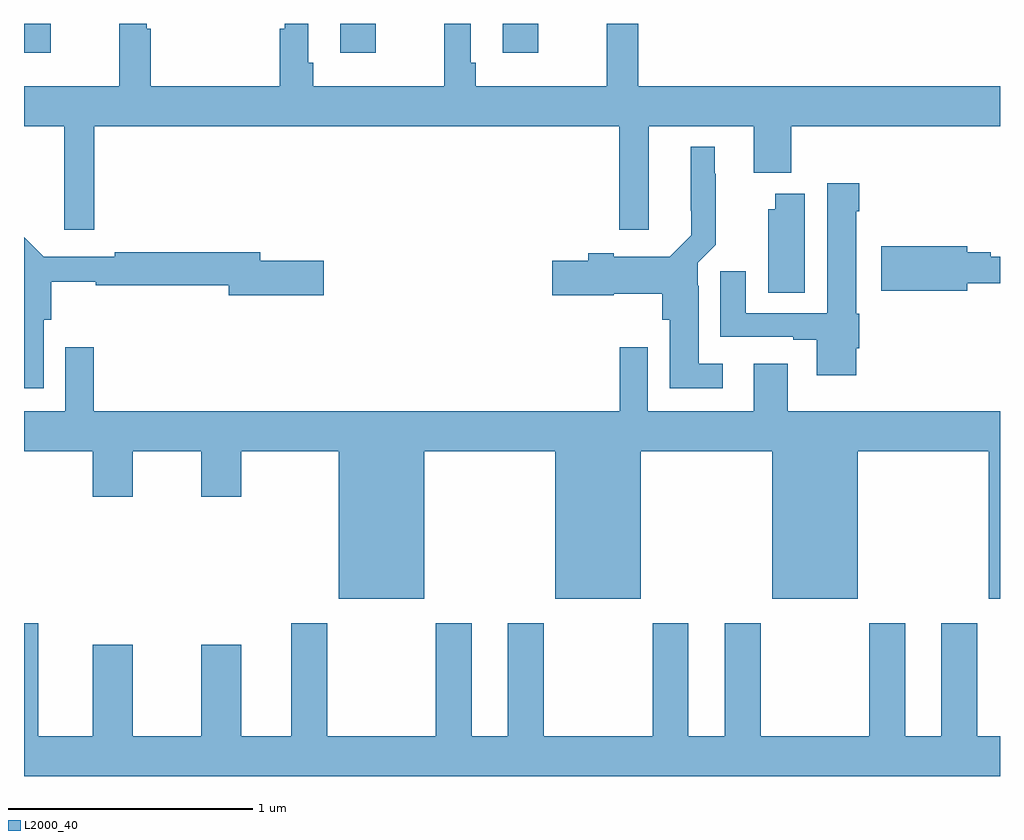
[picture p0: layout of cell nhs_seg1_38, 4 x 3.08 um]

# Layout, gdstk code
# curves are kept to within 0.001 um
import gdstk
lib = gdstk.Library(unit=1e-6, precision=1e-09)
def R(c, l, rs):  # rectangles x0, y0, x1, y1
    for r in rs: c.add(gdstk.rectangle(r[:2], r[2:], *l))
def P(c, l, *ps):  # polygons
    for p in ps: c.add(gdstk.Polygon(p, *l))
L2000_40 = (2000, 40)

nhs_seg1_38 = lib.new_cell('nhs_seg1_38')
R(nhs_seg1_38, L2000_40, [(113,504.081,113.11,504.199), (114.296,504.081,114.442,504.199), (114.962,504.081,115.108,504.199)])
P(nhs_seg1_38, L2000_40, [(113.288,503.78),(115.439,503.78),(115.439,503.355),(115.561,503.355),(115.561,503.78),(115.991,503.78),(115.991,503.588),(116.144,503.588),(116.144,503.78),(117,503.78),(117,503.944),(115.517,503.944),(115.517,504.199),(115.389,504.199),(115.389,503.944),(114.851,503.944),(114.851,504.04),(114.831,504.04),(114.831,504.199),(114.723,504.199),(114.723,503.944),(114.185,503.944),(114.185,504.04),(114.165,504.04),(114.165,504.199),(114.068,504.199),(114.068,504.18),(114.049,504.18),(114.049,503.944),(113.519,503.944),(113.519,504.18),(113.504,504.18),(113.504,504.199),(113.391,504.199),(113.391,503.944),(113,503.944),(113,503.78),(113.165,503.78),(113.165,503.355),(113.288,503.355)],
  [(115.864,502.807),(115.765,502.807),(115.765,503.126),(115.761,503.126),(115.761,503.22),(115.835,503.294),(115.835,503.585),(115.831,503.585),(115.831,503.695),(115.733,503.695),(115.734,503.332),(115.647,503.245),(115.417,503.245),(115.417,503.258),(115.313,503.258),(115.313,503.228),(115.164,503.228),(115.164,503.086),(115.417,503.086),(115.417,503.093),(115.616,503.093),(115.616,502.986),(115.646,502.986),(115.646,502.706),(115.864,502.706)],
  [(116.41,502.87),(116.423,502.87),(116.423,503.01),(116.41,503.01),(116.41,503.432),(116.423,503.432),(116.423,503.545),(116.291,503.545),(116.291,503.013),(115.957,503.013),(115.957,503.185),(115.853,503.185),(115.853,502.917),(116.153,502.917),(116.153,502.905),(116.249,502.905),(116.249,502.758),(116.41,502.758)],
  [(116.2,503.503),(116.078,503.503),(116.078,503.439),(116.051,503.439),(116.051,503.098),(116.2,503.098)],
  [(113.08,502.986),(113.111,502.986),(113.111,503.143),(113.294,503.143),(113.294,503.128),(113.84,503.128),(113.84,503.086),(114.229,503.086),(114.229,503.228),(113.968,503.228),(113.968,503.264),(113.371,503.264),(113.371,503.244),(113.08,503.244),(113,503.325),(113,502.706),(113.08,502.706)],
  [(116.866,503.136),(117,503.136),(117,503.245),(116.962,503.245),(116.962,503.264),(116.866,503.264),(116.866,503.288),(116.514,503.288),(116.514,503.105),(116.866,503.105)],
  [(114.64,502.448),(115.178,502.448),(115.178,501.842),(115.528,501.842),(115.528,502.448),(116.066,502.448),(116.066,501.842),(116.416,501.842),(116.416,502.448),(116.954,502.448),(116.954,501.842),(117,501.842),(117,502.612),(116.131,502.612),(116.131,502.807),(115.991,502.807),(115.991,502.612),(115.557,502.612),(115.557,502.873),(115.441,502.873),(115.441,502.612),(113.285,502.612),(113.285,502.873),(113.169,502.873),(113.169,502.612),(113,502.612),(113,502.448),(113.282,502.448),(113.282,502.26),(113.446,502.26),(113.446,502.448),(113.726,502.448),(113.726,502.26),(113.89,502.26),(113.89,502.448),(114.29,502.448),(114.29,501.842),(114.64,501.842)],
  [(117,501.28),(116.907,501.28),(116.907,501.742),(116.759,501.742),(116.759,501.28),(116.611,501.28),(116.611,501.742),(116.464,501.742),(116.464,501.28),(116.019,501.28),(116.019,501.742),(115.871,501.742),(115.871,501.28),(115.723,501.28),(115.723,501.742),(115.576,501.742),(115.576,501.28),(115.131,501.28),(115.131,501.742),(114.983,501.742),(114.983,501.28),(114.835,501.28),(114.835,501.742),(114.688,501.742),(114.688,501.28),(114.243,501.28),(114.243,501.742),(114.095,501.742),(114.095,501.28),(113.89,501.28),(113.89,501.655),(113.726,501.655),(113.726,501.28),(113.446,501.28),(113.446,501.655),(113.282,501.655),(113.282,501.28),(113.059,501.28),(113.059,501.742),(113,501.742),(113,501.116),(117,501.116)])

lib.write_gds('nhs_seg1_38.gds')
